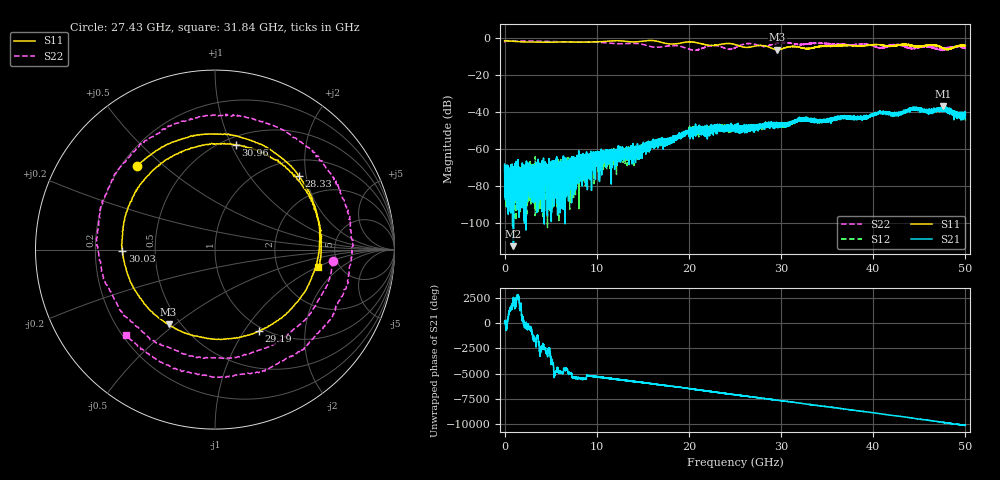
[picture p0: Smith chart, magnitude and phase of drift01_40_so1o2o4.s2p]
!Created with skrf (http://scikit-rf.org).
# Hz S RI R 50.0
!freq ReS11 ImS11 ReS21 ImS21 ReS12 ImS12 ReS22 ImS22
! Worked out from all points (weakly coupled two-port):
!   10001 points, 300 kHz to 50 GHz, reference 50 ohm
!   highest |S21| = -36.88 dB at 47.61 GHz (marker M1); lowest = -112.6 dB at 960.3 MHz (marker M2)
!   lowest |S11| = -6.2 dB at 29.61 GHz (marker M3), VSWR 2.92, Z = 21.6 - j23.7 ohm
!   |S11| at or under -10 dB: nowhere
!   |S22| runs from -6.6 to -1.4 dB; largest |S21 - S12| = 0.0047
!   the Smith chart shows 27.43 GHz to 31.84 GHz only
!   S11 on the Smith chart (normalised r, x): 27.43 GHz: 0.26, +0.41; 28.33 GHz: 1.35, +1.81; 29.19 GHz: 0.94, -1.17; 30.03 GHz: 0.32, -0.01; 30.96 GHz: 0.57, +1.04; 31.84 GHz: 3.47, -1.05
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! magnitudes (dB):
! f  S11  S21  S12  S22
! 300 kHz  -1.3  -68.1  -72.4  -2.1
! 260.3 MHz  -1.4  -74.3  -78.8  -1.4
! 960.3 MHz  -1.6  -112.6  -73.4  -1.5
! 5.77 GHz  -2.0  -80.6  -70.3  -1.8
! 8.335 GHz  -2.0  -67.7  -67.9  -1.8
! 14.04 GHz  -1.9  -62.3  -60.5  -2.7
! 16.67 GHz  -1.6  -55.7  -56.8  -4.8
! 18.62 GHz  -2.9  -53.7  -53.7  -3.9
! 20.42 GHz  -2.0  -48.8  -48.7  -6.3
! 22.6 GHz  -3.8  -48.9  -49.2  -3.8
! 25 GHz  -3.3  -48.2  -46.7  -5.1
! 27.43 GHz  -3.9  -47.6  -49.0  -3.6
! 28.33 GHz  -4.1  -46.6  -45.3  -4.3
! 29.19 GHz  -5.8  -47.2  -46.2  -3.1
! 29.61 GHz  -6.2  -48.0  -47.0  -2.5
! 30.03 GHz  -5.7  -46.4  -46.3  -2.3
! 30.96 GHz  -4.5  -46.5  -46.1  -2.5
! 31.84 GHz  -4.7  -44.4  -44.2  -3.3
! 33.34 GHz  -5.3  -43.9  -44.1  -2.7
! 41.67 GHz  -4.3  -40.1  -40.3  -4.4
! 47.61 GHz  -5.4  -36.9  -38.9  -5.7
! 50 GHz  -3.8  -40.2  -44.4  -5.4
